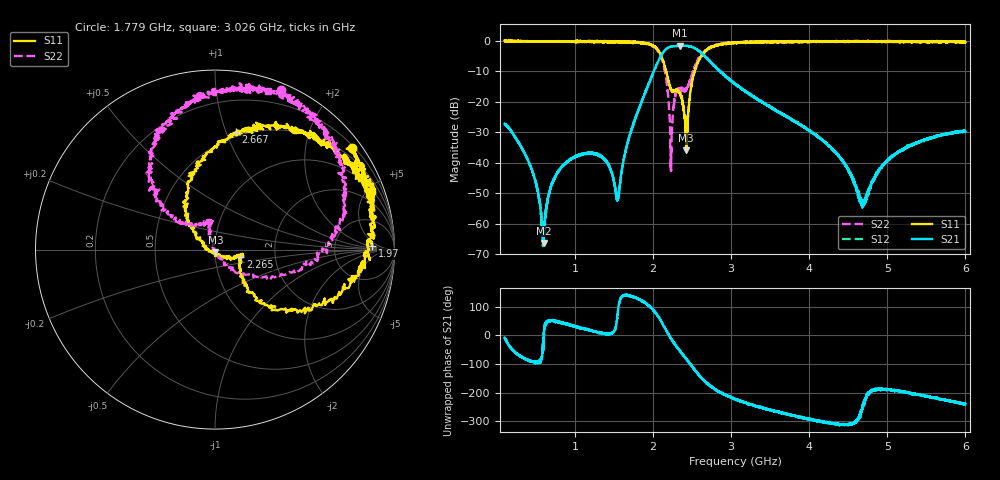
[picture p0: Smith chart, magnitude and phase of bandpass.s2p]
#  HZ  S  DB  R  50.0
! Rohde & Schwarz ZVL6 2Ports - Version 3.32 - 1303.6509k06 SN: 102097
! Date: 2024-06-28 18:24:34
! Data & Calibration Information:
! Trc1:S11(TOSM) Trc3:S21(TOSM) Trc2:S12(TOSM) Trc4:S22(TOSM)
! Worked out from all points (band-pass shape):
!   4001 points, 100 MHz to 6 GHz, reference 50 ohm
!   highest |S21| = -1.58 dB at 2.343 GHz (marker M1); lowest = -66.4 dB at 600 MHz (marker M2)
!   |S21| within 3 dB of the highest: 2.109 GHz to 2.643 GHz (534 MHz wide, 22.5 % of centre); 2.644926 GHz to 2.646318 GHz (1.392 MHz wide, 0.0526 % of centre)
!   lowest |S11| = -35.9 dB at 2.426 GHz (marker M3), VSWR 1.03, Z = 50.2 - j1.59 ohm
!   |S11| at or under -10 dB: 2.169 GHz to 2.531 GHz (361.9 MHz wide, 15.4 % of centre); 2.533223 GHz to 2.534353 GHz (1.13 MHz wide, 0.0446 % of centre)
!   |S22| runs from -42.8 to 0.1 dB; largest |S21 - S12| = 0.054
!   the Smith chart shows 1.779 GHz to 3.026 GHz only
!   S11 on the Smith chart (normalised r, x): 1.779 GHz: 0.25, +3.00; 1.97 GHz: 15, +3; 2.265 GHz: 1.32, -0.11; 2.667 GHz: 0.46, +1.08; 3.026 GHz: 1.06, +5.39
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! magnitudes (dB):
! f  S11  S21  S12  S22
! 100 MHz  0.1  -27.2  -27.5  -0.3
! 443.7 MHz  -0.1  -41.9  -42.0  -0.2
! 600 MHz  -0.2  -66.4  -65.3  -0.2
! 741.6 MHz  -0.3  -44.7  -44.7  -0.2
! 1.084 GHz  -0.2  -37.1  -37.4  -0.3
! 1.547 GHz  -0.4  -52.0  -52.2  -0.2
! 1.779 GHz  -0.4  -25.0  -25.0  -0.3
! 1.97 GHz  -1.1  -12.5  -12.4  -1.3
! 2.068 GHz  -3.2  -6.6  -6.7  -3.4
! 2.161 GHz  -9.1  -2.9  -2.9  -11.4
! 2.223 GHz  -15.2  -2.0  -2.0  -34.1
! 2.265 GHz  -16.7  -1.8  -1.7  -20.6
! 2.343 GHz  -17.3  -1.6  -1.6  -16.4
! 2.426 GHz  -35.9  -1.6  -1.7  -16.0
! 2.522 GHz  -10.9  -2.3  -2.3  -9.5
! 2.667 GHz  -3.5  -5.2  -5.2  -3.2
! 3.026 GHz  -0.6  -13.6  -13.6  -0.6
! 3.05 GHz  -0.5  -14.1  -14.1  -0.5
! 4.034 GHz  -0.2  -29.9  -30.0  -0.2
! 4.681 GHz  -0.2  -52.7  -53.3  -0.2
! 5.018 GHz  -0.3  -38.8  -38.8  0.0
! 6 GHz  -0.5  -29.8  -29.7  -0.3
